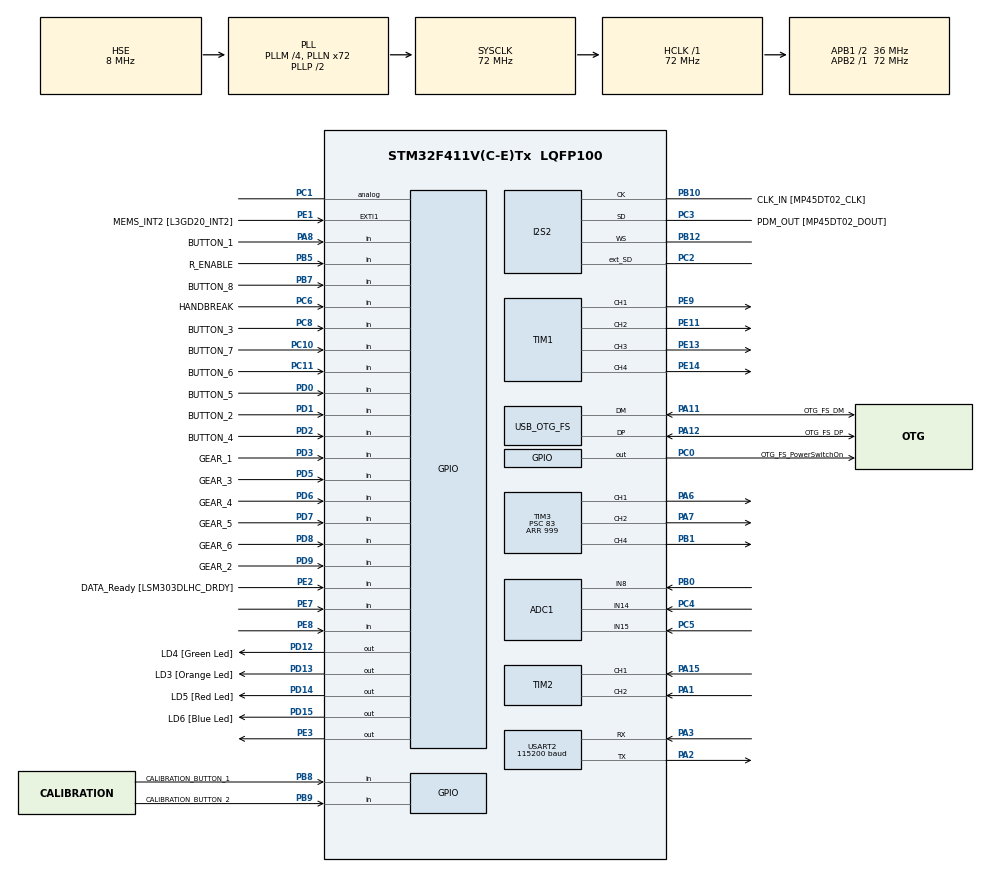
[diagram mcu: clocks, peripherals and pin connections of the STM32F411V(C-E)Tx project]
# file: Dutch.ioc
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ADC1.Channel-1\#ChannelRegularConversion=ADC_CHANNEL_8
ADC1.Channel-2\#ChannelRegularConversion=ADC_CHANNEL_14
ADC1.Channel-3\#ChannelRegularConversion=ADC_CHANNEL_15
ADC1.ContinuousConvMode=DISABLE
ADC1.DMAContinuousRequests=ENABLE
ADC1.NbrOfConversion=3
ADC1.NbrOfConversionFlag=1
ADC1.Rank-1\#ChannelRegularConversion=1
ADC1.Rank-2\#ChannelRegularConversion=2
ADC1.Rank-3\#ChannelRegularConversion=3
ADC1.SamplingTime-1\#ChannelRegularConversion=ADC_SAMPLETIME_144CYCLES
ADC1.SamplingTime-2\#ChannelRegularConversion=ADC_SAMPLETIME_144CYCLES
ADC1.SamplingTime-3\#ChannelRegularConversion=ADC_SAMPLETIME_144CYCLES
ADC1.master=1
Dma.ADC1.0.Direction=DMA_PERIPH_TO_MEMORY
Dma.ADC1.0.FIFOMode=DMA_FIFOMODE_DISABLE
Dma.ADC1.0.Instance=DMA2_Stream0
Dma.ADC1.0.MemDataAlignment=DMA_MDATAALIGN_HALFWORD
Dma.ADC1.0.MemInc=DMA_MINC_ENABLE
Dma.ADC1.0.Mode=DMA_NORMAL
Dma.ADC1.0.PeriphDataAlignment=DMA_PDATAALIGN_HALFWORD
Dma.ADC1.0.PeriphInc=DMA_PINC_DISABLE
Dma.ADC1.0.Priority=DMA_PRIORITY_LOW
Dma.Request0=ADC1
I2S2.AudioFreq=I2S_AUDIOFREQ_96K
I2S2.ErrorAudioFreq=0.15 %
I2S2.FullDuplexMode=I2S_FULLDUPLEXMODE_ENABLE
I2S2.Instance=SPI$Index
I2S2.RealAudioFreq=96.153 KHz
I2S2.VirtualMode=I2S_MODE_MASTER
Mcu.Family=STM32F4
Mcu.Name=STM32F411V(C-E)Tx
Mcu.Package=LQFP100
NVIC.DMA2_Stream0_IRQn=true\:0\:0\:false\:false\:true\:false\:true\:true
NVIC.OTG_FS_IRQn=true\:0\:0\:false\:false\:true\:true\:true\:true
NVIC.PriorityGroup=NVIC_PRIORITYGROUP_0
NVIC.USART2_IRQn=true\:0\:0\:false\:false\:true\:true\:true\:true
PA0-WKUP.Signal=S_TIM5_CH1
PA1.Signal=S_TIM2_CH2
PA11.GPIO_Label=OTG_FS_DM
PA11.Mode=Host_Only
PA11.Signal=USB_OTG_FS_DM
PA12.GPIO_Label=OTG_FS_DP
PA12.Mode=Host_Only
PA12.Signal=USB_OTG_FS_DP
PA13.GPIO_Label=SWDIO
PA13.Mode=Serial_Wire
PA13.Signal=SYS_JTMS-SWDIO
PA14.GPIO_Label=SWCLK
PA14.Mode=Serial_Wire
PA14.Signal=SYS_JTCK-SWCLK
PA15.Signal=S_TIM2_CH1_ETR
PA2.Mode=Asynchronous
PA2.Signal=USART2_TX
PA3.Mode=Asynchronous
PA3.Signal=USART2_RX
PA4.Signal=ADCx_IN4
PA6.Signal=S_TIM3_CH1
PA7.Signal=S_TIM3_CH2
PA8.GPIO_Label=BUTTON_1
PA8.GPIO_PuPd=GPIO_PULLUP
PA8.Signal=GPIO_Input
PB0.Signal=SharedAnalog_PB0
PB1.Signal=S_TIM3_CH4
PB10.GPIO_Label=CLK_IN [MP45DT02_CLK]
PB10.Mode=Full_Duplex_Master
PB10.Signal=I2S2_CK
PB12.Mode=Full_Duplex_Master
PB12.Signal=I2S2_WS
PB3.GPIO_Label=SWO
PB3.Signal=SYS_JTDO-SWO
PB5.GPIO_Label=R_ENABLE
PB5.GPIO_PuPd=GPIO_PULLUP
PB5.Signal=GPIO_Input
PB6.GPIO_Label=Audio_SCL [CS43L22_SCL]
PB6.GPIO_Mode=GPIO_MODE_AF_OD
PB6.GPIO_Pu=GPIO_PULLUP
PB6.GPIO_PuPd=GPIO_NOPULL
PB6.GPIO_Speed=GPIO_SPEED_FREQ_LOW
PB6.Signal=I2C1_SCL
PB7.GPIO_Label=BUTTON_8
PB7.GPIO_PuPd=GPIO_PULLUP
PB7.Signal=GPIO_Input
PB8.GPIO_Label=CALIBRATION_BUTTON_1
PB8.GPIO_PuPd=GPIO_PULLUP
PB8.Signal=GPIO_Input
PB9.GPIO_Label=CALIBRATION_BUTTON_2
PB9.GPIO_PuPd=GPIO_PULLUP
PB9.Signal=GPIO_Input
PC0.GPIO_Label=OTG_FS_PowerSwitchOn
PC0.PinState=GPIO_PIN_SET
PC0.Signal=GPIO_Output
PC1.Signal=SharedAnalog_PC1
PC10.GPIO_Label=BUTTON_7
PC10.GPIO_PuPd=GPIO_PULLUP
PC10.Signal=GPIO_Input
PC11.GPIO_Label=BUTTON_6
PC11.GPIO_PuPd=GPIO_PULLUP
PC11.Signal=GPIO_Input
PC14-OSC32_IN.GPIO_Label=PC14-OSC32_IN
PC14-OSC32_IN.Mode=LSE-External-Oscillator
PC14-OSC32_IN.Signal=RCC_OSC32_IN
PC15-OSC32_OUT.GPIO_Label=PC15-OSC32_OUT
PC15-OSC32_OUT.Mode=LSE-External-Oscillator
PC15-OSC32_OUT.Signal=RCC_OSC32_OUT
PC2.Mode=Full_Duplex_Master
PC2.Signal=I2S2_ext_SD
PC3.GPIO_Label=PDM_OUT [MP45DT02_DOUT]
PC3.Mode=Full_Duplex_Master
PC3.Signal=I2S2_SD
PC4.Signal=SharedAnalog_PC4
PC5.Signal=SharedAnalog_PC5
PC6.GPIO_Label=HANDBREAK
PC6.GPIO_PuPd=GPIO_PULLUP
PC6.Signal=GPIO_Input
PC7.GPIO_Label=I2S3_MCK [CS43L22_MCLK]
PC7.GPIO_Mode=GPIO_MODE_AF_PP
PC7.GPIO_PuPd=GPIO_NOPULL
PC7.GPIO_Speed=GPIO_SPEED_FREQ_LOW
PC7.Signal=I2S3_MCK
PC8.GPIO_Label=BUTTON_3
PC8.GPIO_PuPd=GPIO_PULLUP
PC8.Signal=GPIO_Input
PD0.GPIO_Label=BUTTON_5
PD0.GPIO_PuPd=GPIO_PULLUP
PD0.Signal=GPIO_Input
PD1.GPIO_Label=BUTTON_2
PD1.GPIO_PuPd=GPIO_PULLUP
PD1.Signal=GPIO_Input
PD12.GPIO_Label=LD4 [Green Led]
PD12.GPIO_PuPd=GPIO_NOPULL
PD12.GPIO_Speed=GPIO_SPEED_FREQ_LOW
PD12.Signal=GPIO_Output
PD13.GPIO_Label=LD3 [Orange Led]
PD13.GPIO_PuPd=GPIO_NOPULL
PD13.GPIO_Speed=GPIO_SPEED_FREQ_LOW
PD13.Signal=GPIO_Output
PD14.GPIO_Label=LD5 [Red Led]
PD14.GPIO_PuPd=GPIO_NOPULL
PD14.GPIO_Speed=GPIO_SPEED_FREQ_LOW
PD14.Signal=GPIO_Output
PD15.GPIO_Label=LD6 [Blue Led]
PD15.GPIO_PuPd=GPIO_NOPULL
PD15.GPIO_Speed=GPIO_SPEED_FREQ_LOW
PD15.Signal=GPIO_Output
PD2.GPIO_Label=BUTTON_4
PD2.GPIO_PuPd=GPIO_PULLUP
PD2.Signal=GPIO_Input
PD3.GPIO_Label=GEAR_1
PD3.GPIO_PuPd=GPIO_PULLUP
PD3.Signal=GPIO_Input
PD5.GPIO_Label=GEAR_3
PD5.GPIO_PuPd=GPIO_PULLUP
PD5.Signal=GPIO_Input
PD6.GPIO_Label=GEAR_4
PD6.GPIO_PuPd=GPIO_PULLUP
PD6.Signal=GPIO_Input
PD7.GPIO_Label=GEAR_5
PD7.GPIO_PuPd=GPIO_PULLUP
PD7.Signal=GPIO_Input
PD8.GPIO_Label=GEAR_6
PD8.GPIO_PuPd=GPIO_PULLUP
PD8.Signal=GPIO_Input
PD9.GPIO_Label=GEAR_2
PD9.GPIO_PuPd=GPIO_PULLUP
PD9.Signal=GPIO_Input
PE1.GPIO_Label=MEMS_INT2 [L3GD20_INT2]
PE1.GPIO_ModeDefaultEXTI=GPIO_MODE_EVT_RISING
PE1.Signal=GPXTI1
PE11.Signal=S_TIM1_CH2
PE13.Signal=S_TIM1_CH3
PE14.Signal=S_TIM1_CH4
PE2.GPIO_Label=DATA_Ready [LSM303DLHC_DRDY]
PE2.Signal=GPIO_Input
PE3.Signal=GPIO_Output
PE7.GPIO_PuPd=GPIO_PULLUP
PE7.Signal=GPIO_Input
PE8.GPIO_PuPd=GPIO_PULLUP
PE8.Signal=GPIO_Input
PE9.Signal=S_TIM1_CH1
PH0\ -\ OSC_IN.GPIO_Label=PH0-OSC_IN
PH0\ -\ OSC_IN.Mode=HSE-External-Oscillator
PH0\ -\ OSC_IN.Signal=RCC_OSC_IN
PH1\ -\ OSC_OUT.GPIO_Label=PH1-OSC_OUT
PH1\ -\ OSC_OUT.Mode=HSE-External-Oscillator
PH1\ -\ OSC_OUT.Signal=RCC_OSC_OUT
ProjectManager.HeapSize=0x200
ProjectManager.StackSize=0x400
ProjectManager.TargetToolchain=STM32CubeIDE
RCC.48MHZClocksFreq_Value=48000000
RCC.AHBFreq_Value=72000000
RCC.APB1CLKDivider=RCC_HCLK_DIV2
RCC.APB1Freq_Value=36000000
RCC.APB1TimFreq_Value=72000000
RCC.APB2Freq_Value=72000000
RCC.APB2TimFreq_Value=72000000
RCC.CortexFreq_Value=72000000
RCC.HCLKFreq_Value=72000000
RCC.HSE_VALUE=8000000
RCC.HSI_VALUE=16000000
RCC.PLLI2SM=5
RCC.PLLI2SN=200
RCC.PLLM=4
RCC.PLLN=72
RCC.PLLQ=3
RCC.SYSCLKFreq_VALUE=72000000
RCC.SYSCLKSource=RCC_SYSCLKSOURCE_PLLCLK
RCC.VCOOutputFreq_Value=144000000
SH.ADCx_IN4.0=ADC1_IN4
SH.S_TIM1_CH1.0=TIM1_CH1,PWM Generation1 CH1
SH.S_TIM1_CH2.0=TIM1_CH2,PWM Generation2 CH2
SH.S_TIM1_CH3.0=TIM1_CH3,PWM Generation3 CH3
SH.S_TIM1_CH4.0=TIM1_CH4,PWM Generation4 CH4
SH.S_TIM2_CH1_ETR.0=TIM2_CH1,Encoder_Interface
SH.S_TIM2_CH2.0=TIM2_CH2,Encoder_Interface
SH.S_TIM3_CH1.0=TIM3_CH1,PWM Generation1 CH1
SH.S_TIM3_CH2.0=TIM3_CH2,PWM Generation2 CH2
SH.S_TIM3_CH4.0=TIM3_CH4,PWM Generation4 CH4
SH.S_TIM5_CH1.0=TIM5_CH1
SH.SharedAnalog_PB0.0=GPIO_Analog
SH.SharedAnalog_PB0.1=ADC1_IN8,IN8
SH.SharedAnalog_PC1.0=GPIO_Analog
SH.SharedAnalog_PC1.1=ADC1_IN11
SH.SharedAnalog_PC4.0=GPIO_Analog
SH.SharedAnalog_PC4.1=ADC1_IN14,IN14
SH.SharedAnalog_PC5.0=GPIO_Analog
SH.SharedAnalog_PC5.1=ADC1_IN15,IN15
TIM1.AutoReloadPreload=TIM_AUTORELOAD_PRELOAD_ENABLE
TIM1.Channel-PWM\ Generation1\ CH1=TIM_CHANNEL_1
TIM1.Channel-PWM\ Generation2\ CH2=TIM_CHANNEL_2
TIM1.Channel-PWM\ Generation3\ CH3=TIM_CHANNEL_3
TIM1.Channel-PWM\ Generation4\ CH4=TIM_CHANNEL_4
TIM2.IC1Filter=5
TIM3.AutoReloadPreload=TIM_AUTORELOAD_PRELOAD_ENABLE
TIM3.Channel-PWM\ Generation1\ CH1=TIM_CHANNEL_1
TIM3.Channel-PWM\ Generation2\ CH2=TIM_CHANNEL_2
TIM3.Channel-PWM\ Generation4\ CH4=TIM_CHANNEL_4
TIM3.Period=999
TIM3.Prescaler=83
TIM4.Period=999
TIM4.Prescaler=83
USART2.BaudRate=115200
USART2.VirtualMode=VM_ASYNC
USB_HOST.BSP.number=1
USB_HOST.USBH_HandleTypeDef=hUsbHostFS
USB_HOST.VirtualModeFS=Cdc
USB_HOST0.BSP.STBoard=false
USB_HOST0.BSP.api=Unknown
USB_HOST0.BSP.instance=PC0
USB_HOST0.BSP.ip=GPIO
USB_HOST0.BSP.mode=Output
USB_HOST0.BSP.name=Drive_VBUS_FS
USB_HOST0.BSP.solution=PC0
USB_OTG_FS.VirtualMode=Host_Only
USB_OTG_FS.phy_itface=HCD_PHY_EMBEDDED
VP_TIM4_VS_ClockSourceINT.Mode=Internal
VP_USB_HOST_VS_USB_HOST_CDC_FS.Mode=CDC_FS
board=STM32F411E-DISCO

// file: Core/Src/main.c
/* USER CODE BEGIN Header */
/**
  ******************************************************************************
  * @file           : main.c
  * @brief          : Main program body
  ******************************************************************************
  * @attention
  *
  * Copyright (c) 2025 STMicroelectronics.
  * All rights reserved.
  *
  * This software is licensed under terms that can be found in the LICENSE file
  * in the root directory of this software component.
  * If no LICENSE file comes with this software, it is provided AS-IS.
  *
  ******************************************************************************
  */
/* USER CODE END Header */
#include "main.h"
#include "usb_host.h"

/* USER CODE BEGIN Includes */
#include <stdio.h>
#include <stdlib.h>
/* USER CODE END Includes */

/* USER CODE BEGIN PTD */
#define PWM_MIN_FWD  1
#define PWM_MIN_REV  1
#define PWM_MAX      100
#define UART_TIMEOUT_MS 20

/* USER CODE END PTD */

ADC_HandleTypeDef hadc1;
DMA_HandleTypeDef hdma_adc1;

I2S_HandleTypeDef hi2s2;

TIM_HandleTypeDef htim1;
TIM_HandleTypeDef htim2;
TIM_HandleTypeDef htim3;
TIM_HandleTypeDef htim4;

UART_HandleTypeDef huart2;

void SystemClock_Config(void);
static void MX_GPIO_Init(void);
static void MX_DMA_Init(void);
static void MX_I2S2_Init(void);
static void MX_USART2_UART_Init(void);
static void MX_TIM2_Init(void);
static void MX_ADC1_Init(void);
static void MX_TIM1_Init(void);
static void MX_TIM3_Init(void);
static void MX_TIM4_Init(void);
void MX_USB_HOST_Process(void);

/* USER CODE BEGIN 0 */
uint16_t encoder_min = 0;
uint16_t encoder_max = 0;
uint16_t counterValue = 0;
uint16_t normalizedCounter = 0;
uint32_t accelerator = 0;
uint32_t brake = 0;
uint32_t clutch = 0;
uint16_t button_mask = 0;

uint8_t both_pressed_counter = 0;
uint8_t calib_stage = 0;
char msg[100];
uint8_t rx_byte;
char uart_buffer[32];
uint8_t gear = 0;
uint16_t counter_val = 0;
uint16_t normalized_counter = 0;
volatile int8_t ffb_force = 0;
uint8_t rx_byte;
char uart_buffer[32];
uint8_t uart_index = 0;
static int16_t last_force = 0;
volatile int16_t target_force = 0;
static int8_t last_dir = 0;
static uint32_t brake_until = 0;
volatile uint32_t last_uart_rx_tick = 0;

static uint16_t ring_distance(uint16_t from, uint16_t to){
    return (uint16_t)(to - from);
}

static uint16_t encode_to_15bit(uint16_t counter_value, uint16_t encoder_min, uint16_t encoder_max){
    uint16_t full_range = ring_distance(encoder_max, encoder_min);
    if (full_range == 0) {
        return 0;
    }

    uint16_t pos = ring_distance(encoder_max, counter_value);

    if (pos > full_range) {
        pos = full_range;
    }

    uint32_t scaled = (uint32_t)pos * 32767u / full_range;
    return (uint16_t)scaled;
}

uint16_t percent_to_pwm(uint8_t percent)
{
    if (percent > 100) percent = 100;
    return (percent * htim3.Init.Period) / 100;
}
void motor_brake(void)
{
    uint16_t soft = htim3.Init.Period / 2;
    __HAL_TIM_SET_COMPARE(&htim3, TIM_CHANNEL_1, soft);
    __HAL_TIM_SET_COMPARE(&htim3, TIM_CHANNEL_2, soft);
}
void motor_stop(void)
{
    __HAL_TIM_SET_COMPARE(&htim3, TIM_CHANNEL_1, 0);
    __HAL_TIM_SET_COMPARE(&htim3, TIM_CHANNEL_2, 0);
}
void motor_right(uint8_t percent)
{
    uint16_t pwm = percent_to_pwm(percent);
    __HAL_TIM_SET_COMPARE(&htim3, TIM_CHANNEL_1, pwm);
    __HAL_TIM_SET_COMPARE(&htim3, TIM_CHANNEL_2, 0);
}

void motor_left(uint8_t percent)
{
    uint16_t pwm = percent_to_pwm(percent);
    __HAL_TIM_SET_COMPARE(&htim3, TIM_CHANNEL_1, 0);
    __HAL_TIM_SET_COMPARE(&htim3, TIM_CHANNEL_2, pwm);
}

void uart_execute_command(char *cmd)
{
    int power = atoi(cmd);
    target_force = power;
}

void uart_process_byte(uint8_t byte)
{
    if (byte == '\n' || byte == '\r')
    {
        uart_execute_command(uart_buffer);
        uart_index = 0;
        return;
    }

    if ((byte >= '0' && byte <= '9') || byte == '-')
    {
        if (uart_index < sizeof(uart_buffer) - 1)
            uart_buffer[uart_index++] = byte;
    }
}

void HAL_UART_RxCpltCallback(UART_HandleTypeDef *huart)
{
    if (huart->Instance == USART2)
    {
    	last_uart_rx_tick = HAL_GetTick();
        uart_process_byte(rx_byte);
        HAL_UART_Receive_IT(&huart2, &rx_byte, 1);
    }
}

uint32_t read_adc_avg(ADC_HandleTypeDef* hadc, uint32_t channel) {
    ADC_ChannelConfTypeDef sConfig = {0};
    sConfig.Channel = channel;
    sConfig.Rank = 1;
    sConfig.SamplingTime = ADC_SAMPLETIME_480CYCLES;
    HAL_ADC_ConfigChannel(hadc, &sConfig);

    uint32_t sum = 0;
    for (int i = 0; i < 10; i++) {
        HAL_ADC_Start(hadc);
        HAL_ADC_PollForConversion(hadc, HAL_MAX_DELAY);
        sum += HAL_ADC_GetValue(hadc);
        HAL_ADC_Stop(hadc);
    }
    return sum / 10;
}

void calibration(uint16_t *encoder_min, uint16_t *encoder_max, uint16_t power)
{
    uint16_t center = 16383;
    while (HAL_GPIO_ReadPin(GPIOB, CALIBRATION_BUTTON_1_Pin) != GPIO_PIN_RESET)
    {
    	motor_right(power);
    }
    *encoder_max = __HAL_TIM_GET_COUNTER(&htim2);
    while ((HAL_GPIO_ReadPin(GPIOB, CALIBRATION_BUTTON_2_Pin) != GPIO_PIN_RESET))
    {
        motor_left(power);
    }
    *encoder_min = __HAL_TIM_GET_COUNTER(&htim2);

    counter_val = __HAL_TIM_GET_COUNTER(&htim2);
    normalized_counter = encode_to_15bit(counter_val, *encoder_max, *encoder_min);
	while (1u)
	{
		counter_val = __HAL_TIM_GET_COUNTER(&htim2);
	    normalized_counter = encode_to_15bit(counter_val, *encoder_min, *encoder_max);
	    if (normalized_counter > (center + 4000)){
	    	motor_right(power);
	    }
	    else{
	    	motor_stop();
	    	break;
	    }
	}
    motor_stop();

    sprintf(msg, "CALIB DONE\nMIN=%u MAX=%u CENTER=%u\n", *encoder_min, *encoder_max, center);
    HAL_UART_Transmit(&huart2, (uint8_t*)msg, strlen(msg), HAL_MAX_DELAY);
}

/* USER CODE END 0 */

int main(void)
{

  /* MCU Configuration--------------------------------------------------------*/

  /* Reset of all peripherals, Initializes the Flash interface and the Systick. */
  HAL_Init();

  /* Configure the system clock */
  SystemClock_Config();

  /* Initialize all configured peripherals */
  MX_GPIO_Init();
  MX_DMA_Init();
  MX_I2S2_Init();
  MX_USB_HOST_Init();
  MX_USART2_UART_Init();
  MX_TIM2_Init();
  MX_ADC1_Init();
  MX_TIM1_Init();
  MX_TIM3_Init();
  MX_TIM4_Init();
  /* USER CODE BEGIN 2 */

  GPIO_InitTypeDef GPIO_InitStruct = {0};
  __HAL_RCC_GPIOB_CLK_ENABLE();

  GPIO_InitStruct.Pin = GPIO_PIN_0 | GPIO_PIN_1;
  GPIO_InitStruct.Mode = GPIO_MODE_ANALOG;
  GPIO_InitStruct.Pull = GPIO_NOPULL;
  HAL_GPIO_Init(GPIOB, &GPIO_InitStruct);

  // Fix encoder pins
  __HAL_RCC_GPIOA_CLK_ENABLE();
  GPIO_InitStruct.Pin = GPIO_PIN_0 | GPIO_PIN_1;
  GPIO_InitStruct.Mode = GPIO_MODE_AF_PP;
  GPIO_InitStruct.Pull = GPIO_PULLUP;
  GPIO_InitStruct.Speed = GPIO_SPEED_FREQ_LOW;
  GPIO_InitStruct.Alternate = GPIO_AF1_TIM2;
  HAL_GPIO_Init(GPIOA, &GPIO_InitStruct);

  HAL_TIM_Encoder_Start(&htim2, TIM_CHANNEL_ALL);
  HAL_TIM_Base_Start(&htim3);

  HAL_TIM_PWM_Start(&htim3, TIM_CHANNEL_1);
  HAL_TIM_PWM_Start(&htim3, TIM_CHANNEL_2);

  HAL_Delay(3000);
  calibration(&encoder_min, &encoder_max, 13);
  HAL_UART_Receive_IT(&huart2, &rx_byte, 1);
  /* USER CODE END 2 */

  /* Infinite loop */
  /* USER CODE BEGIN WHILE */
  while (1){
			   MX_USB_HOST_Process();
			   uint32_t now = HAL_GetTick();
			   counterValue = (uint16_t)__HAL_TIM_GET_COUNTER(&htim2);

         		   button_mask = 0;
         		   gear = 0;
         		   if (HAL_GPIO_ReadPin(GPIOE, GPIO_PIN_7) == GPIO_PIN_RESET)
         			   button_mask |= (1 << 0);

         		   if (HAL_GPIO_ReadPin(GPIOE, GPIO_PIN_8) == GPIO_PIN_RESET)
         			   button_mask |= (1 << 1);

         		   if (HAL_GPIO_ReadPin(GEAR_1_GPIO_Port, GEAR_1_Pin) == GPIO_PIN_RESET)
         			 gear = 1;

         		   if (HAL_GPIO_ReadPin(GEAR_2_GPIO_Port, GEAR_2_Pin) == GPIO_PIN_RESET)
         			 gear = 2;

         		   if (HAL_GPIO_ReadPin(GEAR_3_GPIO_Port, GEAR_3_Pin) == GPIO_PIN_RESET)
         			 gear = 3;

         		   if (HAL_GPIO_ReadPin(GEAR_4_GPIO_Port, GEAR_4_Pin) == GPIO_PIN_RESET)
         			 gear = 4;

         		   if (HAL_GPIO_ReadPin(GEAR_5_GPIO_Port, GEAR_5_Pin) == GPIO_PIN_RESET)
         			 gear = 5;

         		   if (HAL_GPIO_ReadPin(GEAR_6_GPIO_Port, GEAR_6_Pin) == GPIO_PIN_RESET)
         			 gear = 6;

         		   if ((HAL_GPIO_ReadPin(GEAR_6_GPIO_Port, GEAR_6_Pin) == GPIO_PIN_RESET)
         				   && ((HAL_GPIO_ReadPin(GPIOB, R_ENABLE_Pin) == GPIO_PIN_RESET))){
         			 gear = 7;
         		   }

         		   if (HAL_GPIO_ReadPin(GPIOA, BUTTON_1_Pin) == GPIO_PIN_RESET){
         			 button_mask |= (1 << 2);
         		   }
         		   if (HAL_GPIO_ReadPin(GPIOD, BUTTON_2_Pin) == GPIO_PIN_RESET){
         			   button_mask |= (1 << 3);
         		   }
         		   if (HAL_GPIO_ReadPin(GPIOC, BUTTON_3_Pin) == GPIO_PIN_RESET){
         			  button_mask |= (1 << 4);
         		   }
         		   if (HAL_GPIO_ReadPin(GPIOD, BUTTON_4_Pin) == GPIO_PIN_RESET){
         			  button_mask |= (1 << 5);
         		   }
         		   if (HAL_GPIO_ReadPin(GPIOC, BUTTON_6_Pin) == GPIO_PIN_RESET){
         				  button_mask |= (1 << 7);
         			 }
         		   if (HAL_GPIO_ReadPin(GPIOC, BUTTON_7_Pin) == GPIO_PIN_RESET){
         				  button_mask |= (1 << 8);
         			 }
         		   if (HAL_GPIO_ReadPin(GPIOB, BUTTON_8_Pin) == GPIO_PIN_RESET){
         				  button_mask |= (1 << 9);
         			 }
         		   if (HAL_GPIO_ReadPin(GPIOD, BUTTON_5_Pin) == GPIO_PIN_RESET){
         				  button_mask |= (1 << 6);
         			 }
         		   if (HAL_GPIO_ReadPin(GPIOC, HANDBREAK_Pin) == GPIO_PIN_RESET){
         		      	button_mask |= (1 << 10);
         		   }
         		   normalizedCounter = encode_to_15bit(counterValue, encoder_min, encoder_max);

         		   accelerator = read_adc_avg(&hadc1, ADC_CHANNEL_8);
         		   brake = read_adc_avg(&hadc1, ADC_CHANNEL_14);
         		   clutch = read_adc_avg(&hadc1, ADC_CHANNEL_15);

         		   uint8_t calibration_buttons = 0;

         		  if (HAL_GPIO_ReadPin(GPIOB, CALIBRATION_BUTTON_1_Pin) == GPIO_PIN_RESET){
         			   calibration_buttons = 1;
         		  }
         		  if (HAL_GPIO_ReadPin(GPIOB, CALIBRATION_BUTTON_2_Pin) == GPIO_PIN_RESET){
         			   calibration_buttons = 2;
         		  }

				sprintf(msg, "%u|%lu|%lu|%lu|%u|%u\r\n",
					normalizedCounter,
					brake,
					 clutch,
					accelerator,
					gear,
					button_mask);
				HAL_UART_Transmit(&huart2, (uint8_t*)msg, strlen(msg), HAL_MAX_DELAY);
				int16_t force = target_force;

					if ((now - last_uart_rx_tick) > UART_TIMEOUT_MS)
					{
//						target_force = 0;
						motor_stop();
						last_dir = 0;
						continue;
					}

					if (HAL_GetTick() < brake_until)
					{
						motor_brake();
					}

					uint8_t mag = abs(force);

					if (mag > PWM_MAX) mag = PWM_MAX;

					if (force > 0)
					{
						if (mag < PWM_MIN_FWD) mag = PWM_MIN_FWD;
						if ((HAL_GPIO_ReadPin(GPIOB, CALIBRATION_BUTTON_1_Pin) != GPIO_PIN_RESET) && (HAL_GPIO_ReadPin(GPIOB, CALIBRATION_BUTTON_2_Pin) != GPIO_PIN_RESET))
						{
						motor_right(mag);
						}
					}
					else if (force < 0)
					{
						if (mag < PWM_MIN_REV) mag = PWM_MIN_REV;
						if ((HAL_GPIO_ReadPin(GPIOB, CALIBRATION_BUTTON_1_Pin) != GPIO_PIN_RESET) && (HAL_GPIO_ReadPin(GPIOB, CALIBRATION_BUTTON_2_Pin) != GPIO_PIN_RESET))
						{
						motor_left(mag);
						}
					}
					else
					{
					    motor_stop();
					}
           	 	 }
           	 /* USER CODE END 3 */

  /* USER CODE END 3 */
}

void SystemClock_Config(void)
{
  RCC_OscInitTypeDef RCC_OscInitStruct = {0};
  RCC_ClkInitTypeDef RCC_ClkInitStruct = {0};

  /** Configure the main internal regulator output voltage
  */
  __HAL_RCC_PWR_CLK_ENABLE();
  __HAL_PWR_VOLTAGESCALING_CONFIG(PWR_REGULATOR_VOLTAGE_SCALE1);

  /** Initializes the RCC Oscillators according to the specified parameters
  * in the RCC_OscInitTypeDef structure.
  */
  RCC_OscInitStruct.OscillatorType = RCC_OSCILLATORTYPE_HSE;
  RCC_OscInitStruct.HSEState = RCC_HSE_ON;
  RCC_OscInitStruct.PLL.PLLState = RCC_PLL_ON;
  RCC_OscInitStruct.PLL.PLLSource = RCC_PLLSOURCE_HSE;
  RCC_OscInitStruct.PLL.PLLM = 4;
  RCC_OscInitStruct.PLL.PLLN = 72;
  RCC_OscInitStruct.PLL.PLLP = RCC_PLLP_DIV2;
  RCC_OscInitStruct.PLL.PLLQ = 3;
  if (HAL_RCC_OscConfig(&RCC_OscInitStruct) != HAL_OK)
  {
    Error_Handler();
  }

  /** Initializes the CPU, AHB and APB buses clocks
  */
  RCC_ClkInitStruct.ClockType = RCC_CLOCKTYPE_HCLK|RCC_CLOCKTYPE_SYSCLK
                              |RCC_CLOCKTYPE_PCLK1|RCC_CLOCKTYPE_PCLK2;
  RCC_ClkInitStruct.SYSCLKSource = RCC_SYSCLKSOURCE_PLLCLK;
  RCC_ClkInitStruct.AHBCLKDivider = RCC_SYSCLK_DIV1;
  RCC_ClkInitStruct.APB1CLKDivider = RCC_HCLK_DIV2;
  RCC_ClkInitStruct.APB2CLKDivider = RCC_HCLK_DIV1;

  if (HAL_RCC_ClockConfig(&RCC_ClkInitStruct, FLASH_LATENCY_2) != HAL_OK)
  {
    Error_Handler();
  }
}

static void MX_ADC1_Init(void)
{

  ADC_ChannelConfTypeDef sConfig = {0};

  /** Configure the global features of the ADC (Clock, Resolution, Data Alignment and number of conversion)
  */
  hadc1.Instance = ADC1;
  hadc1.Init.ClockPrescaler = ADC_CLOCK_SYNC_PCLK_DIV2;
  hadc1.Init.Resolution = ADC_RESOLUTION_12B;
  hadc1.Init.ScanConvMode = ENABLE;
  hadc1.Init.ContinuousConvMode = DISABLE;
  hadc1.Init.DiscontinuousConvMode = DISABLE;
  hadc1.Init.ExternalTrigConvEdge = ADC_EXTERNALTRIGCONVEDGE_NONE;
  hadc1.Init.ExternalTrigConv = ADC_SOFTWARE_START;
  hadc1.Init.DataAlign = ADC_DATAALIGN_RIGHT;
  hadc1.Init.NbrOfConversion = 3;
  hadc1.Init.DMAContinuousRequests = ENABLE;
  hadc1.Init.EOCSelection = ADC_EOC_SINGLE_CONV;
  if (HAL_ADC_Init(&hadc1) != HAL_OK)
  {
    Error_Handler();
  }

  /** Configure for the selected ADC regular channel its corresponding rank in the sequencer and its sample time.
  */
  sConfig.Channel = ADC_CHANNEL_8;
  sConfig.Rank = 1;
  sConfig.SamplingTime = ADC_SAMPLETIME_144CYCLES;
  if (HAL_ADC_ConfigChannel(&hadc1, &sConfig) != HAL_OK)
  {
    Error_Handler();
  }

  /** Configure for the selected ADC regular channel its corresponding rank in the sequencer and its sample time.
  */
  sConfig.Channel = ADC_CHANNEL_14;
  sConfig.Rank = 2;
  if (HAL_ADC_ConfigChannel(&hadc1, &sConfig) != HAL_OK)
  {
    Error_Handler();
  }

  /** Configure for the selected ADC regular channel its corresponding rank in the sequencer and its sample time.
  */
  sConfig.Channel = ADC_CHANNEL_15;
  sConfig.Rank = 3;
  if (HAL_ADC_ConfigChannel(&hadc1, &sConfig) != HAL_OK)
  {
    Error_Handler();
  }

}

static void MX_I2S2_Init(void)
{

  hi2s2.Instance = SPI2;
  hi2s2.Init.Mode = I2S_MODE_MASTER_TX;
  hi2s2.Init.Standard = I2S_STANDARD_PHILIPS;
  hi2s2.Init.DataFormat = I2S_DATAFORMAT_16B;
  hi2s2.Init.MCLKOutput = I2S_MCLKOUTPUT_DISABLE;
  hi2s2.Init.AudioFreq = I2S_AUDIOFREQ_96K;
  hi2s2.Init.CPOL = I2S_CPOL_LOW;
  hi2s2.Init.ClockSource = I2S_CLOCK_PLL;
  hi2s2.Init.FullDuplexMode = I2S_FULLDUPLEXMODE_ENABLE;
  if (HAL_I2S_Init(&hi2s2) != HAL_OK)
  {
    Error_Handler();
  }

}

static void MX_TIM1_Init(void)
{

  TIM_MasterConfigTypeDef sMasterConfig = {0};
  TIM_OC_InitTypeDef sConfigOC = {0};
  TIM_BreakDeadTimeConfigTypeDef sBreakDeadTimeConfig = {0};

  htim1.Instance = TIM1;
  htim1.Init.Prescaler = 0;
  htim1.Init.CounterMode = TIM_COUNTERMODE_UP;
  htim1.Init.Period = 65535;
  htim1.Init.ClockDivision = TIM_CLOCKDIVISION_DIV1;
  htim1.Init.RepetitionCounter = 0;
  htim1.Init.AutoReloadPreload = TIM_AUTORELOAD_PRELOAD_ENABLE;
  if (HAL_TIM_PWM_Init(&htim1) != HAL_OK)
  {
    Error_Handler();
  }
  sMasterConfig.MasterOutputTrigger = TIM_TRGO_RESET;
  sMasterConfig.MasterSlaveMode = TIM_MASTERSLAVEMODE_DISABLE;
  if (HAL_TIMEx_MasterConfigSynchronization(&htim1, &sMasterConfig) != HAL_OK)
  {
    Error_Handler();
  }
  sConfigOC.OCMode = TIM_OCMODE_PWM1;
  sConfigOC.Pulse = 0;
  sConfigOC.OCPolarity = TIM_OCPOLARITY_HIGH;
  sConfigOC.OCNPolarity = TIM_OCNPOLARITY_HIGH;
  sConfigOC.OCFastMode = TIM_OCFAST_DISABLE;
  sConfigOC.OCIdleState = TIM_OCIDLESTATE_RESET;
  sConfigOC.OCNIdleState = TIM_OCNIDLESTATE_RESET;
  if (HAL_TIM_PWM_ConfigChannel(&htim1, &sConfigOC, TIM_CHANNEL_1) != HAL_OK)
  {
    Error_Handler();
  }
  if (HAL_TIM_PWM_ConfigChannel(&htim1, &sConfigOC, TIM_CHANNEL_2) != HAL_OK)
  {
    Error_Handler();
  }
  if (HAL_TIM_PWM_ConfigChannel(&htim1, &sConfigOC, TIM_CHANNEL_3) != HAL_OK)
  {
    Error_Handler();
  }
  if (HAL_TIM_PWM_ConfigChannel(&htim1, &sConfigOC, TIM_CHANNEL_4) != HAL_OK)
  {
    Error_Handler();
  }
  sBreakDeadTimeConfig.OffStateRunMode = TIM_OSSR_DISABLE;
  sBreakDeadTimeConfig.OffStateIDLEMode = TIM_OSSI_DISABLE;
  sBreakDeadTimeConfig.LockLevel = TIM_LOCKLEVEL_OFF;
  sBreakDeadTimeConfig.DeadTime = 0;
  sBreakDeadTimeConfig.BreakState = TIM_BREAK_DISABLE;
  sBreakDeadTimeConfig.BreakPolarity = TIM_BREAKPOLARITY_HIGH;
  sBreakDeadTimeConfig.AutomaticOutput = TIM_AUTOMATICOUTPUT_DISABLE;
  if (HAL_TIMEx_ConfigBreakDeadTime(&htim1, &sBreakDeadTimeConfig) != HAL_OK)
  {
    Error_Handler();
  }
  HAL_TIM_MspPostInit(&htim1);

}

static void MX_TIM2_Init(void)
{

  TIM_Encoder_InitTypeDef sConfig = {0};
  TIM_MasterConfigTypeDef sMasterConfig = {0};

  htim2.Instance = TIM2;
  htim2.Init.Prescaler = 0;
  htim2.Init.CounterMode = TIM_COUNTERMODE_UP;
  htim2.Init.Period = 4294967295;
  htim2.Init.ClockDivision = TIM_CLOCKDIVISION_DIV1;
  htim2.Init.AutoReloadPreload = TIM_AUTORELOAD_PRELOAD_DISABLE;
  sConfig.EncoderMode = TIM_ENCODERMODE_TI1;
  sConfig.IC1Polarity = TIM_ICPOLARITY_RISING;
  sConfig.IC1Selection = TIM_ICSELECTION_DIRECTTI;
  sConfig.IC1Prescaler = TIM_ICPSC_DIV1;
  sConfig.IC1Filter = 5;
  sConfig.IC2Polarity = TIM_ICPOLARITY_RISING;
  sConfig.IC2Selection = TIM_ICSELECTION_DIRECTTI;
  sConfig.IC2Prescaler = TIM_ICPSC_DIV1;
  sConfig.IC2Filter = 0;
  if (HAL_TIM_Encoder_Init(&htim2, &sConfig) != HAL_OK)
  {
    Error_Handler();
  }
  sMasterConfig.MasterOutputTrigger = TIM_TRGO_RESET;
  sMasterConfig.MasterSlaveMode = TIM_MASTERSLAVEMODE_DISABLE;
  if (HAL_TIMEx_MasterConfigSynchronization(&htim2, &sMasterConfig) != HAL_OK)
  {
    Error_Handler();
  }

}

static void MX_TIM3_Init(void)
{

  TIM_MasterConfigTypeDef sMasterConfig = {0};
  TIM_OC_InitTypeDef sConfigOC = {0};

  htim3.Instance = TIM3;
  htim3.Init.Prescaler = 83;
  htim3.Init.CounterMode = TIM_COUNTERMODE_UP;
  htim3.Init.Period = 999;
  htim3.Init.ClockDivision = TIM_CLOCKDIVISION_DIV1;
  htim3.Init.AutoReloadPreload = TIM_AUTORELOAD_PRELOAD_ENABLE;
  if (HAL_TIM_PWM_Init(&htim3) != HAL_OK)
  {
    Error_Handler();
  }
  sMasterConfig.MasterOutputTrigger = TIM_TRGO_RESET;
  sMasterConfig.MasterSlaveMode = TIM_MASTERSLAVEMODE_DISABLE;
  if (HAL_TIMEx_MasterConfigSynchronization(&htim3, &sMasterConfig) != HAL_OK)
  {
    Error_Handler();
  }
  sConfigOC.OCMode = TIM_OCMODE_PWM1;
  sConfigOC.Pulse = 0;
  sConfigOC.OCPolarity = TIM_OCPOLARITY_HIGH;
  sConfigOC.OCFastMode = TIM_OCFAST_DISABLE;
  if (HAL_TIM_PWM_ConfigChannel(&htim3, &sConfigOC, TIM_CHANNEL_1) != HAL_OK)
  {
    Error_Handler();
  }
  if (HAL_TIM_PWM_ConfigChannel(&htim3, &sConfigOC, TIM_CHANNEL_2) != HAL_OK)
  {
    Error_Handler();
  }
  if (HAL_TIM_PWM_ConfigChannel(&htim3, &sConfigOC, TIM_CHANNEL_4) != HAL_OK)
  {
    Error_Handler();
  }
  HAL_TIM_MspPostInit(&htim3);

}

static void MX_TIM4_Init(void)
{

  TIM_ClockConfigTypeDef sClockSourceConfig = {0};
  TIM_MasterConfigTypeDef sMasterConfig = {0};

  htim4.Instance = TIM4;
  htim4.Init.Prescaler = 83;
  htim4.Init.CounterMode = TIM_COUNTERMODE_UP;
  htim4.Init.Period = 999;
  htim4.Init.ClockDivision = TIM_CLOCKDIVISION_DIV1;
  htim4.Init.AutoReloadPreload = TIM_AUTORELOAD_PRELOAD_DISABLE;
  if (HAL_TIM_Base_Init(&htim4) != HAL_OK)
  {
    Error_Handler();
  }
  sClockSourceConfig.ClockSource = TIM_CLOCKSOURCE_INTERNAL;
  if (HAL_TIM_ConfigClockSource(&htim4, &sClockSourceConfig) != HAL_OK)
  {
    Error_Handler();
  }
  sMasterConfig.MasterOutputTrigger = TIM_TRGO_RESET;
  sMasterConfig.MasterSlaveMode = TIM_MASTERSLAVEMODE_DISABLE;
  if (HAL_TIMEx_MasterConfigSynchronization(&htim4, &sMasterConfig) != HAL_OK)
  {
    Error_Handler();
  }

}

static void MX_USART2_UART_Init(void)
{

  huart2.Instance = USART2;
  huart2.Init.BaudRate = 115200;
  huart2.Init.WordLength = UART_WORDLENGTH_8B;
  huart2.Init.StopBits = UART_STOPBITS_1;
  huart2.Init.Parity = UART_PARITY_NONE;
  huart2.Init.Mode = UART_MODE_TX_RX;
  huart2.Init.HwFlowCtl = UART_HWCONTROL_NONE;
  huart2.Init.OverSampling = UART_OVERSAMPLING_16;
  if (HAL_UART_Init(&huart2) != HAL_OK)
  {
    Error_Handler();
  }

}

static void MX_DMA_Init(void)
{

  /* DMA controller clock enable */
  __HAL_RCC_DMA2_CLK_ENABLE();

  /* DMA interrupt init */
  /* DMA2_Stream0_IRQn interrupt configuration */
  HAL_NVIC_SetPriority(DMA2_Stream0_IRQn, 0, 0);
  HAL_NVIC_EnableIRQ(DMA2_Stream0_IRQn);

}

static void MX_GPIO_Init(void)
{
  GPIO_InitTypeDef GPIO_InitStruct = {0};

  /* GPIO Ports Clock Enable */
  __HAL_RCC_GPIOE_CLK_ENABLE();
  __HAL_RCC_GPIOC_CLK_ENABLE();
  __HAL_RCC_GPIOH_CLK_ENABLE();
  __HAL_RCC_GPIOA_CLK_ENABLE();
  __HAL_RCC_GPIOB_CLK_ENABLE();
  __HAL_RCC_GPIOD_CLK_ENABLE();

  /*Configure GPIO pin Output Level */
  HAL_GPIO_WritePin(GPIOE, GPIO_PIN_3, GPIO_PIN_RESET);

  /*Configure GPIO pin Output Level */
  HAL_GPIO_WritePin(OTG_FS_PowerSwitchOn_GPIO_Port, OTG_FS_PowerSwitchOn_Pin, GPIO_PIN_SET);

  /*Configure GPIO pin Output Level */
  HAL_GPIO_WritePin(GPIOD, LD4_Pin|LD3_Pin|LD5_Pin|LD6_Pin, GPIO_PIN_RESET);

  /*Configure GPIO pin : DATA_Ready_Pin */
  GPIO_InitStruct.Pin = DATA_Ready_Pin;
  GPIO_InitStruct.Mode = GPIO_MODE_INPUT;
  GPIO_InitStruct.Pull = GPIO_NOPULL;
  HAL_GPIO_Init(DATA_Ready_GPIO_Port, &GPIO_InitStruct);

  /*Configure GPIO pin : PE3 */
  GPIO_InitStruct.Pin = GPIO_PIN_3;
  GPIO_InitStruct.Mode = GPIO_MODE_OUTPUT_PP;
  GPIO_InitStruct.Pull = GPIO_NOPULL;
  GPIO_InitStruct.Speed = GPIO_SPEED_FREQ_LOW;
  HAL_GPIO_Init(GPIOE, &GPIO_InitStruct);

  /*Configure GPIO pin : OTG_FS_PowerSwitchOn_Pin */
  GPIO_InitStruct.Pin = OTG_FS_PowerSwitchOn_Pin;
  GPIO_InitStruct.Mode = GPIO_MODE_OUTPUT_PP;
  GPIO_InitStruct.Pull = GPIO_NOPULL;
  GPIO_InitStruct.Speed = GPIO_SPEED_FREQ_LOW;
  HAL_GPIO_Init(OTG_FS_PowerSwitchOn_GPIO_Port, &GPIO_InitStruct);

  /*Configure GPIO pin : PA0 */
  GPIO_InitStruct.Pin = GPIO_PIN_0;
  GPIO_InitStruct.Mode = GPIO_MODE_AF_PP;
  GPIO_InitStruct.Pull = GPIO_NOPULL;
  GPIO_InitStruct.Speed = GPIO_SPEED_FREQ_LOW;
  GPIO_InitStruct.Alternate = GPIO_AF2_TIM5;
  HAL_GPIO_Init(GPIOA, &GPIO_InitStruct);

  /*Configure GPIO pins : PE7 PE8 */
  GPIO_InitStruct.Pin = GPIO_PIN_7|GPIO_PIN_8;
  GPIO_InitStruct.Mode = GPIO_MODE_INPUT;
  GPIO_InitStruct.Pull = GPIO_PULLUP;
  HAL_GPIO_Init(GPIOE, &GPIO_InitStruct);

  /*Configure GPIO pins : GEAR_6_Pin GEAR_2_Pin BUTTON_5_Pin BUTTON_2_Pin
                           BUTTON_4_Pin GEAR_1_Pin GEAR_3_Pin GEAR_4_Pin
                           GEAR_5_Pin */
  GPIO_InitStruct.Pin = GEAR_6_Pin|GEAR_2_Pin|BUTTON_5_Pin|BUTTON_2_Pin
                          |BUTTON_4_Pin|GEAR_1_Pin|GEAR_3_Pin|GEAR_4_Pin
                          |GEAR_5_Pin;
  GPIO_InitStruct.Mode = GPIO_MODE_INPUT;
  GPIO_InitStruct.Pull = GPIO_PULLUP;
  HAL_GPIO_Init(GPIOD, &GPIO_InitStruct);

  /*Configure GPIO pins : LD4_Pin LD3_Pin LD5_Pin LD6_Pin */
  GPIO_InitStruct.Pin = LD4_Pin|LD3_Pin|LD5_Pin|LD6_Pin;
  GPIO_InitStruct.Mode = GPIO_MODE_OUTPUT_PP;
  GPIO_InitStruct.Pull = GPIO_NOPULL;
  GPIO_InitStruct.Speed = GPIO_SPEED_FREQ_LOW;
  HAL_GPIO_Init(GPIOD, &GPIO_InitStruct);

  /*Configure GPIO pins : HANDBREAK_Pin BUTTON_3_Pin BUTTON_7_Pin BUTTON_6_Pin */
  GPIO_InitStruct.Pin = HANDBREAK_Pin|BUTTON_3_Pin|BUTTON_7_Pin|BUTTON_6_Pin;
  GPIO_InitStruct.Mode = GPIO_MODE_INPUT;
  GPIO_InitStruct.Pull = GPIO_PULLUP;
  HAL_GPIO_Init(GPIOC, &GPIO_InitStruct);

  /*Configure GPIO pin : I2S3_MCK_Pin */
  GPIO_InitStruct.Pin = I2S3_MCK_Pin;
  GPIO_InitStruct.Mode = GPIO_MODE_AF_PP;
  GPIO_InitStruct.Pull = GPIO_NOPULL;
  GPIO_InitStruct.Speed = GPIO_SPEED_FREQ_LOW;
  GPIO_InitStruct.Alternate = GPIO_AF6_SPI3;
  HAL_GPIO_Init(I2S3_MCK_GPIO_Port, &GPIO_InitStruct);

  /*Configure GPIO pin : BUTTON_1_Pin */
  GPIO_InitStruct.Pin = BUTTON_1_Pin;
  GPIO_InitStruct.Mode = GPIO_MODE_INPUT;
  GPIO_InitStruct.Pull = GPIO_PULLUP;
  HAL_GPIO_Init(BUTTON_1_GPIO_Port, &GPIO_InitStruct);

  /*Configure GPIO pins : R_ENABLE_Pin BUTTON_8_Pin CALIBRATION_BUTTON_1_Pin CALIBRATION_BUTTON_2_Pin */
  GPIO_InitStruct.Pin = R_ENABLE_Pin|BUTTON_8_Pin|CALIBRATION_BUTTON_1_Pin|CALIBRATION_BUTTON_2_Pin;
  GPIO_InitStruct.Mode = GPIO_MODE_INPUT;
  GPIO_InitStruct.Pull = GPIO_PULLUP;
  HAL_GPIO_Init(GPIOB, &GPIO_InitStruct);

  /*Configure GPIO pin : Audio_SCL_Pin */
  GPIO_InitStruct.Pin = Audio_SCL_Pin;
  GPIO_InitStruct.Mode = GPIO_MODE_AF_OD;
  GPIO_InitStruct.Pull = GPIO_PULLUP;
  GPIO_InitStruct.Speed = GPIO_SPEED_FREQ_LOW;
  GPIO_InitStruct.Alternate = GPIO_AF4_I2C1;
  HAL_GPIO_Init(Audio_SCL_GPIO_Port, &GPIO_InitStruct);

  /*Configure GPIO pin : MEMS_INT2_Pin */
  GPIO_InitStruct.Pin = MEMS_INT2_Pin;
  GPIO_InitStruct.Mode = GPIO_MODE_EVT_RISING;
  GPIO_InitStruct.Pull = GPIO_NOPULL;
  HAL_GPIO_Init(MEMS_INT2_GPIO_Port, &GPIO_InitStruct);

}

void Error_Handler(void)
{
  __disable_irq();
  while (1)
  {
  }
}
